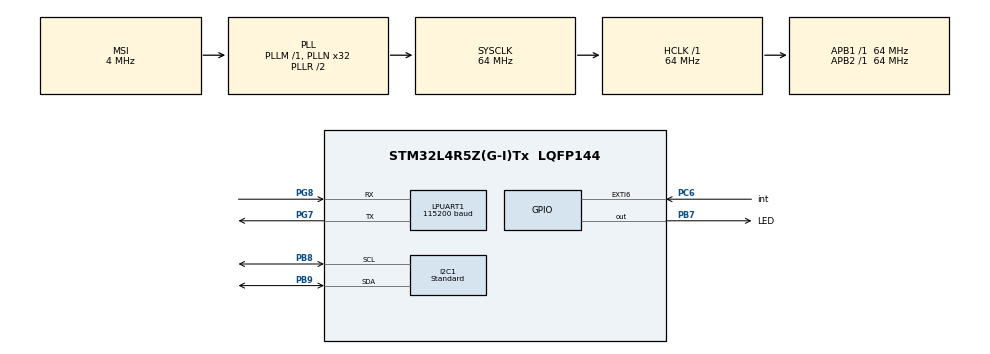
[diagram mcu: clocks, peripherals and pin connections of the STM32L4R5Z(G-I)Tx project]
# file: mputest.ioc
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Mcu.Family=STM32L4
RCC.MSI_VALUE=4000000
PG8.Mode=Asynchronous
RCC.CortexFreq_Value=64000000
PG7.Signal=LPUART1_TX
PA13\ (JTMS/SWDIO).Mode=Serial_Wire
I2C1.I2C_Speed_Mode=I2C_Standard
PG8.Signal=LPUART1_RX
PC6.Signal=GPXTI6
PC6.GPIO_Label=int
LPUART1.WordLength=UART_WORDLENGTH_8B
I2C1.Analog_Filter=I2C_ANALOGFILTER_ENABLE
RCC.SYSCLKSource=RCC_SYSCLKSOURCE_PLLCLK
ProjectManager.StackSize=0x400
PA14\ (JTCK/SWCLK).Signal=SYS_JTCK-SWCLK
ProjectManager.TargetToolchain=STM32CubeIDE
RCC.HCLKFreq_Value=64000000
PB9.Mode=I2C
RCC.APB2TimFreq_Value=64000000
I2C1.Timing=0x10707DBC
PG7.Mode=Asynchronous
RCC.LSE_VALUE=32768
RCC.AHBFreq_Value=64000000
RCC.HSE_VALUE=8000000
board=custom
RCC.VCOOutputFreq_Value=128000000
RCC.APB2Freq_Value=64000000
PB7.Signal=GPIO_Output
PA14\ (JTCK/SWCLK).Mode=Serial_Wire
Mcu.Name=STM32L4R5Z(G-I)Tx
LPUART1.BaudRate=115200
PB7.GPIO_Label=LED
RCC.SYSCLKFreq_VALUE=64000000
Mcu.Package=LQFP144
PB9.Signal=I2C1_SDA
NVIC.EXTI9_5_IRQn=true\:0\:0\:false\:false\:true\:true\:true
ProjectManager.HeapSize=0x200
RCC.HSI_VALUE=16000000
NVIC.PriorityGroup=NVIC_PRIORITYGROUP_4
PB8.Mode=I2C
RCC.PLLN=32
RCC.APB1TimFreq_Value=64000000
PB8.Signal=I2C1_SCL
RCC.APB1Freq_Value=64000000
RCC.HSI48_VALUE=48000000
PA13\ (JTMS/SWDIO).Signal=SYS_JTMS-SWDIO

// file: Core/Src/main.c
/* USER CODE BEGIN Header */
/**
 ******************************************************************************
 * @file           : main.c
 * @brief          : Main program body
 ******************************************************************************
 * @attention
 *
 * <h2><center>&copy; Copyright (c) 2021 STMicroelectronics.
 * All rights reserved.</center></h2>
 *
 * This software component is licensed by ST under BSD 3-Clause license,
 * the "License"; You may not use this file except in compliance with the
 * License. You may obtain a copy of the License at:
 *                        opensource.org/licenses/BSD-3-Clause
 *
 ******************************************************************************
 */
/* USER CODE END Header */
#include "main.h"

/* USER CODE BEGIN Includes */
#include "inv_mpu.h"
#include "inv_mpu_dmp_motion_driver.h"
#include "invensense.h"
#include "invensense_adv.h"
#include "eMPL_outputs.h"
#include "mltypes.h"
#include "mpu.h"
#include "log.h"
#include "packet.h"
#include "macros.h"
#include <stdio.h>
/* USER CODE END Includes */

I2C_HandleTypeDef hi2c1;

UART_HandleTypeDef hlpuart1;

/* USER CODE BEGIN PV */
#undef MPL_LOGI
#define MPL_LOGI(...) printf(__VA_ARGS__)
#undef MPL_LOGE
#define MPL_LOGE(...) printf(__VA_ARGS__)

int _write(int file, char *ptr, int len)
{
	HAL_UART_Transmit(&hlpuart1, (uint8_t *) ptr, len, 10);
	return len;
}
static struct hal_s hal = {0};

static inline void run_self_test(void)
{
	int result;
	long gyro[3], accel[3];

	result = mpu_run_self_test(gyro, accel);
	if (result == 0x7) {
		MPL_LOGI("Passed!\n");
		printf("accel: %7.4f %7.4f %7.4f\n",
				accel[0]/65536.f,
				accel[1]/65536.f,
				accel[2]/65536.f);
		printf("gyro: %7.4f %7.4f %7.4f\n",
				gyro[0]/65536.f,
				gyro[1]/65536.f,
				gyro[2]/65536.f);
		/* Test passed. We can trust the gyro data here, so now we need to update calibrated data*/

#ifdef USE_CAL_HW_REGISTERS
		/*
		 * This portion of the code uses the HW offset registers that are in the MPUxxxx devices
		 * instead of pushing the cal data to the MPL software library
		 */
		unsigned char i = 0;

		for(i = 0; i<3; i++) {
			gyro[i] = (long)(gyro[i] * 32.8f); //convert to +-1000dps
			accel[i] *= 2048.f; //convert to +-16G
			accel[i] = accel[i] >> 16;
			gyro[i] = (long)(gyro[i] >> 16);
		}

		mpu_set_gyro_bias_reg(gyro);

#if defined (MPU6500) || defined (MPU9250)
		mpu_set_accel_bias_6500_reg(accel);
#elif defined (MPU6050) || defined (MPU9150)
		mpu_set_accel_bias_6050_reg(accel);
#endif
#else
		/* Push the calibrated data to the MPL library.
		 *
		 * MPL expects biases in hardware units << 16, but self test returns
		 * biases in g's << 16.
		 */
		unsigned short accel_sens;
		float gyro_sens;

		mpu_get_accel_sens(&accel_sens);
		accel[0] *= accel_sens;
		accel[1] *= accel_sens;
		accel[2] *= accel_sens;
		//inv_set_accel_bias(accel, 3);
		mpu_get_gyro_sens(&gyro_sens);
		gyro[0] = (long) (gyro[0] * gyro_sens);
		gyro[1] = (long) (gyro[1] * gyro_sens);
		gyro[2] = (long) (gyro[2] * gyro_sens);
		//inv_set_gyro_bias(gyro, 3);
#endif
	}
	else {
		if (!(result & 0x1)) printf("Gyro failed.\n");
		if (!(result & 0x2)) printf("Accel failed.\n");
		if (!(result & 0x4)) printf("Compass failed.\n");
	}

}
void gyro_data_ready_cb(void)
{
	hal.new_gyro = 1;
}

static void read_from_mpl(void)
{
	long msg, data[9];
	int8_t accuracy;
	unsigned long timestamp;
	float float_data[3] = {0};

	if (inv_get_sensor_type_quat(data, &accuracy, (inv_time_t*)&timestamp)) {
		/* Sends a quaternion packet to the PC. Since this is used by the Python
		 * test app to visually represent a 3D quaternion, it's sent each time
		 * the MPL has new data.
		 */
		eMPL_send_quat(data);

		/* Specific data packets can be sent or suppressed using USB commands. */
		if (hal.report & PRINT_QUAT)
			eMPL_send_data(PACKET_DATA_QUAT, data);
	}

	if (hal.report & PRINT_ACCEL) {
		if (inv_get_sensor_type_accel(data, &accuracy,
				(inv_time_t*)&timestamp))
			eMPL_send_data(PACKET_DATA_ACCEL, data);
	}
	if (hal.report & PRINT_GYRO) {
		if (inv_get_sensor_type_gyro(data, &accuracy,
				(inv_time_t*)&timestamp))
			eMPL_send_data(PACKET_DATA_GYRO, data);
	}
#ifdef COMPASS_ENABLED
	if (hal.report & PRINT_COMPASS) {
		if (inv_get_sensor_type_compass(data, &accuracy,
				(inv_time_t*)&timestamp))
			eMPL_send_data(PACKET_DATA_COMPASS, data);
	}
#endif
if (hal.report & PRINT_EULER) {
	if (inv_get_sensor_type_euler(data, &accuracy,
			(inv_time_t*)&timestamp))
		eMPL_send_data(PACKET_DATA_EULER, data);
}
if (hal.report & PRINT_ROT_MAT) {
	if (inv_get_sensor_type_rot_mat(data, &accuracy,
			(inv_time_t*)&timestamp))
		eMPL_send_data(PACKET_DATA_ROT, data);
}
if (hal.report & PRINT_HEADING) {
	if (inv_get_sensor_type_heading(data, &accuracy,
			(inv_time_t*)&timestamp))
		eMPL_send_data(PACKET_DATA_HEADING, data);
}
if (hal.report & PRINT_LINEAR_ACCEL) {
	if (inv_get_sensor_type_linear_acceleration(float_data, &accuracy, (inv_time_t*)&timestamp)) {
		printf("Linear Accel: %7.5f %7.5f %7.5f\r\n",
				float_data[0], float_data[1], float_data[2]);
	}
}
if (hal.report & PRINT_GRAVITY_VECTOR) {
	if (inv_get_sensor_type_gravity(float_data, &accuracy,
			(inv_time_t*)&timestamp))
		printf("Gravity Vector: %7.5f %7.5f %7.5f\r\n",
				float_data[0], float_data[1], float_data[2]);
}
if (hal.report & PRINT_PEDO) {
	unsigned long timestamp;
	get_tick_count(&timestamp);
	if (timestamp > hal.next_pedo_ms) {
		hal.next_pedo_ms = timestamp + PEDO_READ_MS;
		unsigned long step_count, walk_time;
		dmp_get_pedometer_step_count(&step_count);
		dmp_get_pedometer_walk_time(&walk_time);

		printf("Walked %ld steps over %ld milliseconds..\n", step_count,
				walk_time);
	}
}

/* Whenever the MPL detects a change in motion state, the application can
 * be notified. For this example, we use an LED to represent the current
 * motion state.
 */
msg = inv_get_message_level_0(INV_MSG_MOTION_EVENT |
		INV_MSG_NO_MOTION_EVENT);
if (msg) {
	if (msg & INV_MSG_MOTION_EVENT) {
		MPL_LOGI("Motion!\n");
	} else if (msg & INV_MSG_NO_MOTION_EVENT) {
		MPL_LOGI("No motion!\n");
	}
}
}

/* USER CODE END PV */

void SystemClock_Config(void);
static void MX_GPIO_Init(void);
static void MX_I2C1_Init(void);
static void MX_LPUART1_UART_Init(void);

/* USER CODE BEGIN 0 */
int MPU_init(){
	unsigned char accel_fsr;
	unsigned short gyro_rate, gyro_fsr;
	struct int_param_s int_param;
	int_param.cb = gyro_data_ready_cb;

	if (mpu_init(&int_param) !=0){
		MPL_LOGI("Could not start MPU!\n");
		return -1;
	}

	if (inv_init_mpl() !=0){
		printf("Could not initialize MPL.\n");
		return -1;
	}

	inv_enable_quaternion();
	inv_enable_9x_sensor_fusion();

	inv_enable_fast_nomot();
	inv_enable_gyro_tc();
#ifdef COMPASS_ENABLED
	/* Compass calibration algorithms. */
	inv_enable_vector_compass_cal();
	inv_enable_magnetic_disturbance();
#endif
	inv_enable_eMPL_outputs();

	int result = inv_start_mpl();
	if (result == INV_ERROR_NOT_AUTHORIZED) {
		while (1) {
			MPL_LOGE("Not authorized.\n");
		}
	}
	if (result){
		MPL_LOGE("Could not start the MPL.\n");
		return -1;
	}
#ifdef COMPASS_ENABLED
	mpu_set_sensors(INV_XYZ_GYRO | INV_XYZ_ACCEL | INV_XYZ_COMPASS);
#else
	mpu_set_sensors(INV_XYZ_GYRO | INV_XYZ_ACCEL);
#endif
	inv_enable_eMPL_outputs();

	mpu_configure_fifo(INV_XYZ_GYRO | INV_XYZ_ACCEL);
	mpu_set_sample_rate(DEFAULT_MPU_HZ);

#ifdef COMPASS_ENABLED
	/* The compass sampling rate can be less than the gyro/accel sampling rate.
	 * Use this function for proper power management.
	 */
	mpu_set_compass_sample_rate(1000 / COMPASS_READ_MS);
#endif
	mpu_get_sample_rate(&gyro_rate);
	mpu_get_gyro_fsr(&gyro_fsr);
	mpu_get_accel_fsr(&accel_fsr);
#ifdef COMPASS_ENABLED
    mpu_get_compass_fsr(&compass_fsr);
#endif
	inv_set_gyro_sample_rate(1000000L / gyro_rate);
	inv_set_accel_sample_rate(1000000L / gyro_rate);
#ifdef COMPASS_ENABLED
    /* The compass rate is independent of the gyro and accel rates. As long as
     * inv_set_compass_sample_rate is called with the correct value, the 9-axis
     * fusion algorithm's compass correction gain will work properly.
     */
    inv_set_compass_sample_rate(COMPASS_READ_MS * 1000L);
#endif
	inv_set_gyro_orientation_and_scale(
	            inv_orientation_matrix_to_scalar(gyro_pdata.orientation),
	            (long)gyro_fsr<<15);
	inv_set_accel_orientation_and_scale(
			inv_orientation_matrix_to_scalar(gyro_pdata.orientation),
			(long)accel_fsr<<15);
#ifdef COMPASS_ENABLED
    inv_set_compass_orientation_and_scale(
            inv_orientation_matrix_to_scalar(compass_pdata.orientation),
            (long)compass_fsr<<15);
#endif
	return 0;
}

struct angles_t toEuler(float qw,float qx, float qy, float qz){
	struct angles_t angle;
	//roll
	double r1 = 2 * (qw * qx + qy * qz);
	double r2 = 1 - 2 * (qx * qx + qy * qy);
	angle.roll = atan2(r1,r2);

	double p1 = 2 * (qw * qy - qz * qx);
	if (fabs(p1) >= 1)
		angle.pitch = copysign(M_PI / 2, p1); // use 90 degrees if out of range
	else
		angle.pitch = asin(p1);

	// yaw (z-axis rotation)
	double siny_cosp = 2 * (qw * qz + qx * qy);
	double cosy_cosp = 1 - 2 * (qy * qy + qz * qz);
	angle.yaw = atan2(siny_cosp, cosy_cosp);

	return angle;
}
/* USER CODE END 0 */

int main(void)
{
  /* USER CODE BEGIN 1 */
	unsigned long timestamp;

  /* USER CODE END 1 */

  /* MCU Configuration--------------------------------------------------------*/

  /* Reset of all peripherals, Initializes the Flash interface and the Systick. */
  HAL_Init();

  /* Configure the system clock */
  SystemClock_Config();

  /* Initialize all configured peripherals */
  MX_GPIO_Init();
  MX_I2C1_Init();
  MX_LPUART1_UART_Init();
  /* USER CODE BEGIN 2 */

  if(MPU_init()) NVIC_SystemReset();

	/* Read back configuration in case it was set improperly. */

#ifdef COMPASS_ENABLED
    hal.sensors = ACCEL_ON | GYRO_ON | COMPASS_ON;
#else
    hal.sensors = ACCEL_ON | GYRO_ON;
#endif
    hal.dmp_on = 0;
    hal.report = 0;
    hal.rx.cmd = 0;
    hal.next_pedo_ms = 0;
    hal.next_compass_ms = 0;
    hal.next_temp_ms = 0;
    get_tick_count(&timestamp);

	if(dmp_load_motion_driver_firmware()) printf("Could not start DMP!\r\n");

	dmp_set_interrupt_mode(DMP_INT_CONTINUOUS);
	dmp_set_orientation(inv_orientation_matrix_to_scalar(gyro_pdata.orientation));
	/* Compass reads are handled by scheduler. */
	get_tick_count(&timestamp);
	hal.dmp_features = DMP_FEATURE_SEND_RAW_ACCEL |DMP_FEATURE_6X_LP_QUAT | DMP_FEATURE_GYRO_CAL;
	dmp_enable_feature(hal.dmp_features);
	dmp_set_fifo_rate(DEFAULT_MPU_HZ);

	if(mpu_set_dmp_state(1)) printf("Could not enable DMP!\r\n");
	hal.dmp_on = 1;

	run_self_test();
	//HAL_UART_Transmit(&hlpuart1, (uint8_t *) msg, sizeof(msg), 100);
  /* USER CODE END 2 */

  /* Infinite loop */
	while (1)
	{

    /* USER CODE BEGIN 3 */
		unsigned long sensor_timestamp;
		get_tick_count(&timestamp);
#ifdef COMPASS_ENABLED
		/* We're not using a data ready interrupt for the compass, so we'll
		 * make our compass reads timer-based instead.
		 */
		if ((timestamp > hal.next_compass_ms) && !hal.lp_accel_mode &&
				hal.new_gyro && (hal.sensors & COMPASS_ON)) {
			hal.next_compass_ms = timestamp + COMPASS_READ_MS;
			new_compass = 1;
		}
#endif

/* Temperature data doesn't need to be read with every gyro sample.
 * Let's make them timer-based like the compass reads.
 */
		if (timestamp > hal.next_temp_ms) {
			hal.next_temp_ms = timestamp + TEMP_READ_MS;

		}
		if (!hal.sensors || !hal.new_gyro) {
			continue;
		}
		if (hal.new_gyro && hal.dmp_on) {
			short gyro[3], accel_short[3], sensors;
			unsigned char more;
			long accel[3], quat[4];
			/* This function gets new data from the FIFO when the DMP is in
			 * use. The FIFO can contain any combination of gyro, accel,
			 * quaternion, and gesture data. The sensors parameter tells the
			 * caller which data fields were actually populated with new data.
			 * For example, if sensors == (INV_XYZ_GYRO | INV_WXYZ_QUAT), then
			 * the FIFO isn't being filled with accel data.
			 * The driver parses the gesture data to determine if a gesture
			 * event has occurred; on an event, the application will be notified
			 * via a callback (assuming that a callback function was properly
			 * registered). The more parameter is non-zero if there are
			 * leftover packets in the FIFO.
			 */
			dmp_read_fifo(gyro, accel_short, quat, &sensor_timestamp, &sensors, &more);
			//printf("dmp on!");
			if (!more)
				hal.new_gyro = 0;

			if (sensors & INV_XYZ_GYRO) {
				printf("gyro: %7.4f %7.4f %7.4f\n",
						gyro[0]/65536.f,
						gyro[1]/65536.f,
						gyro[2]/65536.f);
			}
			if (sensors & INV_XYZ_ACCEL) {
				accel[0] = (long)accel_short[0];
				accel[1] = (long)accel_short[1];
				accel[2] = (long)accel_short[2];

				//inv_build_accel(accel, 0, sensor_timestamp);
				printf("accel: %7.4f %7.4f %7.4f\n",
						accel[0]/65536.f,
						accel[1]/65536.f,
						accel[2]/65536.f);
			}
			if(sensors&INV_WXYZ_QUAT)
				{
					struct angles_t angle = {0};
					angle = toEuler(quat[0], quat[1], quat[2], quat[3]);
					printf("pitch = %f\r\n", angle.pitch);
					printf("roll = %f\r\n",angle.roll);
					printf("yaw = %f\r\n",angle.yaw);

				}

		}

	}
  /* USER CODE END 3 */
}

void SystemClock_Config(void)
{
  RCC_OscInitTypeDef RCC_OscInitStruct = {0};
  RCC_ClkInitTypeDef RCC_ClkInitStruct = {0};
  RCC_PeriphCLKInitTypeDef PeriphClkInit = {0};

  /** Configure the main internal regulator output voltage
  */
  if (HAL_PWREx_ControlVoltageScaling(PWR_REGULATOR_VOLTAGE_SCALE1) != HAL_OK)
  {
    Error_Handler();
  }
  /** Initializes the RCC Oscillators according to the specified parameters
  * in the RCC_OscInitTypeDef structure.
  */
  RCC_OscInitStruct.OscillatorType = RCC_OSCILLATORTYPE_MSI;
  RCC_OscInitStruct.MSIState = RCC_MSI_ON;
  RCC_OscInitStruct.MSICalibrationValue = 0;
  RCC_OscInitStruct.MSIClockRange = RCC_MSIRANGE_6;
  RCC_OscInitStruct.PLL.PLLState = RCC_PLL_ON;
  RCC_OscInitStruct.PLL.PLLSource = RCC_PLLSOURCE_MSI;
  RCC_OscInitStruct.PLL.PLLM = 1;
  RCC_OscInitStruct.PLL.PLLN = 32;
  RCC_OscInitStruct.PLL.PLLP = RCC_PLLP_DIV2;
  RCC_OscInitStruct.PLL.PLLQ = RCC_PLLQ_DIV2;
  RCC_OscInitStruct.PLL.PLLR = RCC_PLLR_DIV2;
  if (HAL_RCC_OscConfig(&RCC_OscInitStruct) != HAL_OK)
  {
    Error_Handler();
  }
  /** Initializes the CPU, AHB and APB buses clocks
  */
  RCC_ClkInitStruct.ClockType = RCC_CLOCKTYPE_HCLK|RCC_CLOCKTYPE_SYSCLK
                              |RCC_CLOCKTYPE_PCLK1|RCC_CLOCKTYPE_PCLK2;
  RCC_ClkInitStruct.SYSCLKSource = RCC_SYSCLKSOURCE_PLLCLK;
  RCC_ClkInitStruct.AHBCLKDivider = RCC_SYSCLK_DIV1;
  RCC_ClkInitStruct.APB1CLKDivider = RCC_HCLK_DIV1;
  RCC_ClkInitStruct.APB2CLKDivider = RCC_HCLK_DIV1;

  if (HAL_RCC_ClockConfig(&RCC_ClkInitStruct, FLASH_LATENCY_3) != HAL_OK)
  {
    Error_Handler();
  }
  PeriphClkInit.PeriphClockSelection = RCC_PERIPHCLK_LPUART1|RCC_PERIPHCLK_I2C1;
  PeriphClkInit.Lpuart1ClockSelection = RCC_LPUART1CLKSOURCE_PCLK1;
  PeriphClkInit.I2c1ClockSelection = RCC_I2C1CLKSOURCE_PCLK1;
  if (HAL_RCCEx_PeriphCLKConfig(&PeriphClkInit) != HAL_OK)
  {
    Error_Handler();
  }
}

static void MX_I2C1_Init(void)
{

  hi2c1.Instance = I2C1;
  hi2c1.Init.Timing = 0x10707DBC;
  hi2c1.Init.OwnAddress1 = 0;
  hi2c1.Init.AddressingMode = I2C_ADDRESSINGMODE_7BIT;
  hi2c1.Init.DualAddressMode = I2C_DUALADDRESS_DISABLE;
  hi2c1.Init.OwnAddress2 = 0;
  hi2c1.Init.OwnAddress2Masks = I2C_OA2_NOMASK;
  hi2c1.Init.GeneralCallMode = I2C_GENERALCALL_DISABLE;
  hi2c1.Init.NoStretchMode = I2C_NOSTRETCH_DISABLE;
  if (HAL_I2C_Init(&hi2c1) != HAL_OK)
  {
    Error_Handler();
  }
  /** Configure Analogue filter
  */
  if (HAL_I2CEx_ConfigAnalogFilter(&hi2c1, I2C_ANALOGFILTER_ENABLE) != HAL_OK)
  {
    Error_Handler();
  }
  /** Configure Digital filter
  */
  if (HAL_I2CEx_ConfigDigitalFilter(&hi2c1, 0) != HAL_OK)
  {
    Error_Handler();
  }

}

static void MX_LPUART1_UART_Init(void)
{

  hlpuart1.Instance = LPUART1;
  hlpuart1.Init.BaudRate = 115200;
  hlpuart1.Init.WordLength = UART_WORDLENGTH_8B;
  hlpuart1.Init.StopBits = UART_STOPBITS_1;
  hlpuart1.Init.Parity = UART_PARITY_NONE;
  hlpuart1.Init.Mode = UART_MODE_TX_RX;
  hlpuart1.Init.HwFlowCtl = UART_HWCONTROL_NONE;
  hlpuart1.Init.OneBitSampling = UART_ONE_BIT_SAMPLE_DISABLE;
  hlpuart1.Init.ClockPrescaler = UART_PRESCALER_DIV1;
  hlpuart1.AdvancedInit.AdvFeatureInit = UART_ADVFEATURE_NO_INIT;
  hlpuart1.FifoMode = UART_FIFOMODE_DISABLE;
  if (HAL_UART_Init(&hlpuart1) != HAL_OK)
  {
    Error_Handler();
  }
  if (HAL_UARTEx_SetTxFifoThreshold(&hlpuart1, UART_TXFIFO_THRESHOLD_1_8) != HAL_OK)
  {
    Error_Handler();
  }
  if (HAL_UARTEx_SetRxFifoThreshold(&hlpuart1, UART_RXFIFO_THRESHOLD_1_8) != HAL_OK)
  {
    Error_Handler();
  }
  if (HAL_UARTEx_DisableFifoMode(&hlpuart1) != HAL_OK)
  {
    Error_Handler();
  }

}

static void MX_GPIO_Init(void)
{
  GPIO_InitTypeDef GPIO_InitStruct = {0};

  /* GPIO Ports Clock Enable */
  __HAL_RCC_GPIOG_CLK_ENABLE();
  HAL_PWREx_EnableVddIO2();
  __HAL_RCC_GPIOC_CLK_ENABLE();
  __HAL_RCC_GPIOA_CLK_ENABLE();
  __HAL_RCC_GPIOB_CLK_ENABLE();

  /*Configure GPIO pin Output Level */
  HAL_GPIO_WritePin(LED_GPIO_Port, LED_Pin, GPIO_PIN_RESET);

  /*Configure GPIO pin : int_Pin */
  GPIO_InitStruct.Pin = int_Pin;
  GPIO_InitStruct.Mode = GPIO_MODE_IT_RISING;
  GPIO_InitStruct.Pull = GPIO_NOPULL;
  HAL_GPIO_Init(int_GPIO_Port, &GPIO_InitStruct);

  /*Configure GPIO pin : LED_Pin */
  GPIO_InitStruct.Pin = LED_Pin;
  GPIO_InitStruct.Mode = GPIO_MODE_OUTPUT_PP;
  GPIO_InitStruct.Pull = GPIO_NOPULL;
  GPIO_InitStruct.Speed = GPIO_SPEED_FREQ_LOW;
  HAL_GPIO_Init(LED_GPIO_Port, &GPIO_InitStruct);

  /* EXTI interrupt init*/
  HAL_NVIC_SetPriority(EXTI9_5_IRQn, 0, 0);
  HAL_NVIC_EnableIRQ(EXTI9_5_IRQn);

}

/* USER CODE BEGIN 4 */
void HAL_GPIO_EXTI_Callback(uint16_t GPIO_Pin){
	//gyro_data_ready_cb();
	hal.new_gyro = 1;
}
/* USER CODE END 4 */

void Error_Handler(void)
{
	__disable_irq();
	while (1)
	{
	}
}

/************************ (C) COPYRIGHT STMicroelectronics *****END OF FILE****/
